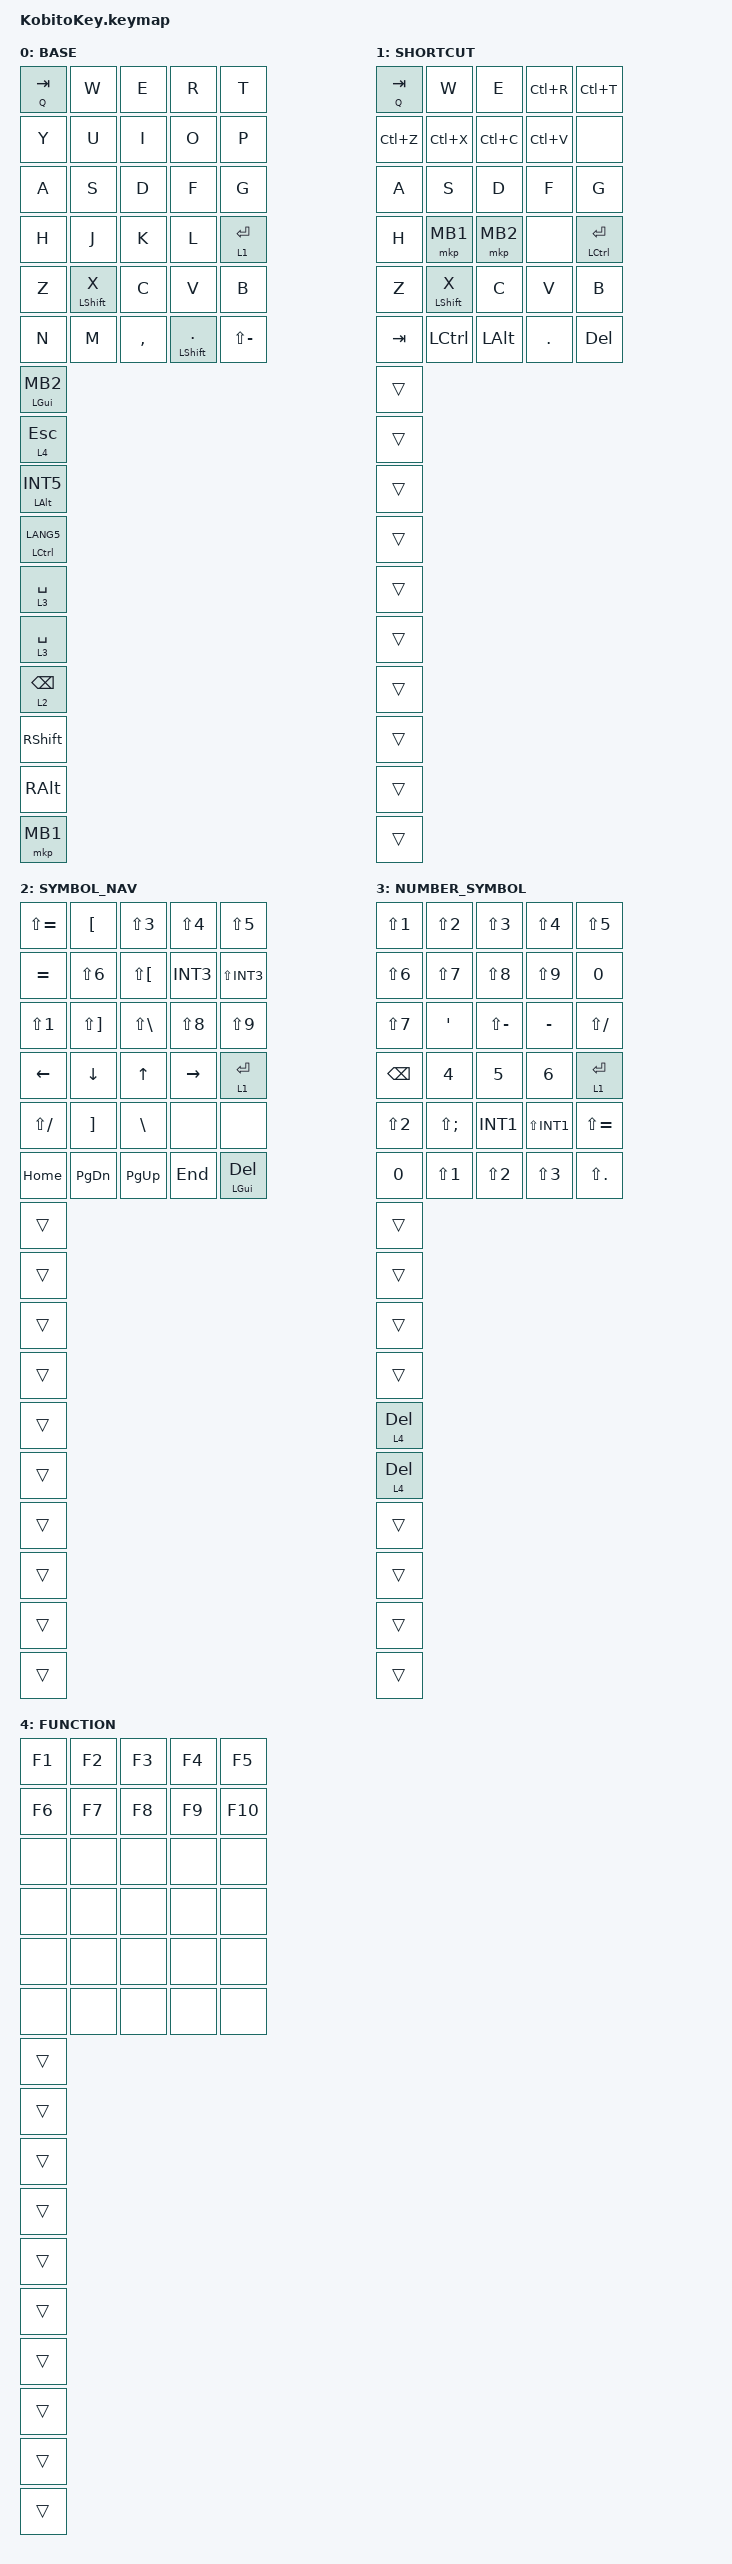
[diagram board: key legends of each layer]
#include <input/processors.dtsi>
#include <behaviors.dtsi>
#include <dt-bindings/zmk/bt.h>
#include <dt-bindings/zmk/keys.h>
#include <dt-bindings/zmk/pointing.h>


/*
 * ============================================================
 * KobitoKey QWERTY2
 * 5 Layer / JIS oriented keymap
 *
 * Layer 0 : BASE
 * Layer 1 : SHORTCUT / MOUSE
 * Layer 2 : SYMBOL / NAVIGATION
 * Layer 3 : NUMBER / SYMBOL
 * Layer 4 : FUNCTION
 * ============================================================
 */


/ {
    behaviors {

        /*
         * TD(1) 相当
         * Tap  : TAB
         * Hold : Q
         */
        td1: td1 {
            compatible = "zmk,behavior-hold-tap";
            #binding-cells = <2>;
            flavor = "tap-preferred";
            tapping-term-ms = <200>;
            bindings = <&kp>, <&kp>;
        };


        /*
         * TD(0) 相当
         * Tap  : ENTER
         * Hold : TO(layer)
         *
         * 使用例:
         * &td0 1 ENTER
         */
        td0: td0 {
            compatible = "zmk,behavior-hold-tap";
            #binding-cells = <2>;
            flavor = "tap-preferred";
            tapping-term-ms = <200>;
            bindings = <&to>, <&kp>;
        };


        /*
         * GUI / Mouse2
         * Hold : LGUI
         * Tap  : Mouse2
         */
        gui_mb2: gui_mb2 {
            compatible = "zmk,behavior-hold-tap";
            #binding-cells = <2>;
            flavor = "tap-preferred";
            tapping-term-ms = <200>;
            bindings = <&kp>, <&mkp>;
        };
    };


    keymap {
        compatible = "zmk,keymap";


        /*
         * =====================================================
         * Layer 0 : BASE
         * =====================================================
         *
         * TD1 W E R T | Y U I O P
         * A   S D F G | H J K L TD0
         * Z   X C V B | N M , . =
         *
         * JIS用:
         *   無変換      = INT5
         *   半角/全角   = LANG5
         *
         * ZMKでは INT5 が無変換、
         * LANG5 が半角/全角として定義されています。
         */

        default_layer {
            label = "BASE";

            bindings = <
/* ─────────────── 左手 ─────────────── */                 /* ─────────────── 右手 ─────────────── */

/* row 0 */
&td1 Q TAB     &kp W          &kp E          &kp R           &kp T
&kp Y          &kp U          &kp I          &kp O           &kp P

/* row 1 */
&kp A          &kp S          &kp D          &kp F           &kp G
&kp H          &kp J          &kp K          &kp L           &td0 1 ENTER

/* row 2 */
&kp Z          &mt LSHIFT X   &kp C          &kp V           &kp B
&kp N          &kp M          &kp COMMA      &mt LSHIFT DOT  &kp LS(MINUS)

/* thumb row */
&gui_mb2 LGUI MB2
&lt 4 ESC
&mt LALT INT5
&mt LCTRL LANG5
&lt 3 SPACE

&lt 3 SPACE
&lt 2 BSPC
&kp RSHIFT
&kp RALT
&mkp MB1
            >;
        };


        /*
         * =====================================================
         * Layer 1 : SHORTCUT / MOUSE
         * =====================================================
         *
         * 画像のLayer 1をベースにしています。
         *
         * TD5/TD6/TD7、M0、0x7e40 は、
         * 画像だけでは動作内容を確定できないため
         * 安全な通常キー / none としています。
         */

        layer1 {
            label = "SHORTCUT";

            bindings = <
/* row 0 */
&td1 Q TAB     &kp W          &kp E          &kp LC(R)       &kp LC(T)
&kp LC(Z)      &kp LC(X)      &kp LC(C)      &kp LC(V)       &none

/* row 1 */
&kp A          &kp S          &kp D          &kp F           &kp G
&kp H          &mkp MB1       &mkp MB2       &none           &mt LCTRL ENTER

/* row 2 */
&kp Z          &mt LSHIFT X   &kp C          &kp V           &kp B
&kp TAB        &kp LCTRL      &kp LALT       &kp DOT         &kp DEL

/* thumb row */
&trans         &trans         &trans         &trans           &trans
&trans         &trans         &trans         &trans           &trans
            >;
        };


        /*
         * =====================================================
         * Layer 2 : SYMBOL / NAVIGATION
         * =====================================================
         *
         * Windows JIS 106/109 keyboard 前提。
         *
         * JIS HID位置:
         *
         * EQUAL      = ^ / ~
         * LBKT       = @ / `
         * RBKT       = [ / {
         * BSLH       = ] / }
         * APOS       = : / *
         * SEMI       = ; / +
         * INT3       = ¥ / |
         * INT1       = \ / _
         *
         * ZMKの INT1/INT3 は
         * 日本語キーボード用 International keycode。
         */

        layer2 {
            label = "SYMBOL_NAV";

            bindings = <
/* row 0 : 記号 */
&kp LS(EQUAL)  &kp LBKT       &kp LS(N3)      &kp LS(N4)      &kp LS(N5)
&kp EQUAL      &kp LS(N6)     &kp LS(LBKT)    &kp INT3        &kp LS(INT3)

/* row 1 : 括弧 + Cursor */
&kp LS(N1)     &kp LS(RBKT)   &kp LS(BSLH)    &kp LS(N8)      &kp LS(N9)
&kp LEFT       &kp DOWN       &kp UP          &kp RIGHT       &td0 1 ENTER

/* row 2 : [] + Navigation */
&kp LS(SLASH)  &kp RBKT       &kp BSLH        &none           &none
&kp HOME       &kp PG_DN      &kp PG_UP       &kp END         &mt LGUI DEL

/* thumb row */
&trans         &trans         &trans           &trans          &trans
&trans         &trans         &trans           &trans          &trans
            >;
        };


        /*
         * =====================================================
         * Layer 3 : NUMBER / SYMBOL
         * =====================================================
         *
         * 画像の数字・記号レイヤー。
         *
         * JIS配列では数字列のShift記号がUS配列と異なるため、
         * Windows側を「日本語キーボード 106/109」にします。
         */

        layer3 {
            label = "NUMBER_SYMBOL";

            bindings = <
/* row 0 : ! " # $ % | & ' ( ) 0 */
&kp LS(N1)     &kp LS(N2)     &kp LS(N3)      &kp LS(N4)       &kp LS(N5)
&kp LS(N6)     &kp LS(N7)     &kp LS(N8)      &kp LS(N9)       &kp N0

/* row 1 */
&kp LS(N7)     &kp APOS       &kp LS(MINUS)   &kp MINUS        &kp LS(SLASH)
&kp BSPC       &kp N4         &kp N5          &kp N6           &td0 1 ENTER

/* row 2 */
&kp LS(N2)     &kp LS(SEMI)   &kp INT1        &kp LS(INT1)     &kp LS(EQUAL)
&kp N0         &kp LS(N1)     &kp LS(N2)      &kp LS(N3)       &kp LS(DOT)

/* thumb row */
&trans         &trans         &trans           &trans           &lt 4 DEL
&lt 4 DEL      &trans         &trans           &trans           &trans
            >;
        };


        /*
         * =====================================================
         * Layer 4 : FUNCTION
         * =====================================================
         *
         * 画像どおり F1～F10。
         */

        layer4 {
            label = "FUNCTION";

            bindings = <
/* row 0 */
&kp F1         &kp F2         &kp F3          &kp F4          &kp F5
&kp F6         &kp F7         &kp F8          &kp F9          &kp F10

/* row 1 */
&none          &none          &none           &none           &none
&none          &none          &none           &none           &none

/* row 2 */
&none          &none          &none           &none           &none
&none          &none          &none           &none           &none

/* thumb row */
&trans         &trans         &trans           &trans          &trans
&trans         &trans         &trans           &trans          &trans
            >;
        };
    };
};
